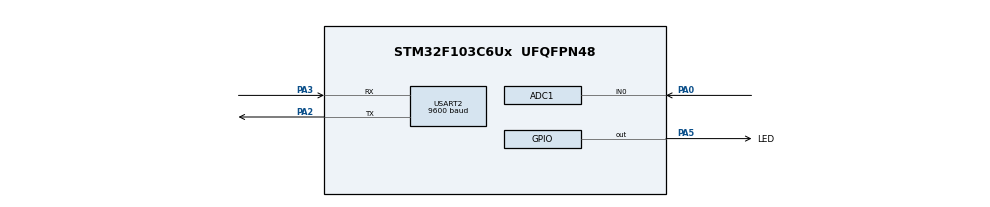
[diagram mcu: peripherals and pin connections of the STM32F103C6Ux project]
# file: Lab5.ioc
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ADC1.Channel-0\#ChannelRegularConversion=ADC_CHANNEL_0
ADC1.ContinuousConvMode=ENABLE
ADC1.NbrOfConversionFlag=1
ADC1.Rank-0\#ChannelRegularConversion=1
ADC1.SamplingTime-0\#ChannelRegularConversion=ADC_SAMPLETIME_1CYCLE_5
ADC1.master=1
Mcu.Family=STM32F1
Mcu.Name=STM32F103C6Ux
Mcu.Package=UFQFPN48
NVIC.PriorityGroup=NVIC_PRIORITYGROUP_4
NVIC.TIM2_IRQn=true\:0\:0\:false\:false\:true\:true\:true\:true
NVIC.USART2_IRQn=true\:0\:0\:false\:false\:true\:true\:true\:true
PA0-WKUP.Signal=ADCx_IN0
PA2.Mode=Asynchronous
PA2.Signal=USART2_TX
PA3.Mode=Asynchronous
PA3.Signal=USART2_RX
PA5.GPIO_Label=LED
PA5.Signal=GPIO_Output
ProjectManager.HeapSize=0x200
ProjectManager.StackSize=0x400
ProjectManager.TargetToolchain=STM32CubeIDE
RCC.APB1Freq_Value=8000000
RCC.APB2Freq_Value=8000000
SH.ADCx_IN0.0=ADC1_IN0,IN0
TIM2.Period=9
TIM2.Prescaler=7999
USART2.BaudRate=9600
USART2.VirtualMode=VM_ASYNC
VP_SYS_VS_ND.Mode=No_Debug
VP_TIM2_VS_ClockSourceINT.Mode=Internal
board=custom

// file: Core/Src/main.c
/* USER CODE BEGIN Header */
/**
  ******************************************************************************
  * @file           : main.c
  * @brief          : Main program body
  ******************************************************************************
  * @attention
  *
  * <h2><center>&copy; Copyright (c) 2022 STMicroelectronics.
  * All rights reserved.</center></h2>
  *
  * This software component is licensed by ST under BSD 3-Clause license,
  * the "License"; You may not use this file except in compliance with the
  * License. You may obtain a copy of the License at:
  *                        opensource.org/licenses/BSD-3-Clause
  *
  ******************************************************************************
  */
/* USER CODE END Header */
#include "main.h"

/* USER CODE BEGIN Includes */
#include "fsm.h"
#include "stdio.h"
#include "software_timer.h"
/* USER CODE END Includes */

/* USER CODE BEGIN PD */
#define MAX_BUFFER_SIZE 30
/* USER CODE END PD */

ADC_HandleTypeDef hadc1;

TIM_HandleTypeDef htim2;

/* USER CODE BEGIN PV */
uint8_t temp = 0;
uint8_t buffer [ MAX_BUFFER_SIZE ];
uint8_t index_buffer = 0;
uint8_t buffer_flag = 0;

uint32_t ADC_Value=0;
/* USER CODE END PV */

void SystemClock_Config(void);
static void MX_GPIO_Init(void);
static void MX_ADC1_Init(void);
static void MX_USART2_UART_Init(void);
static void MX_TIM2_Init(void);

/* USER CODE BEGIN 0 */
void HAL_UART_RxCpltCallback ( UART_HandleTypeDef * huart ){
	if(huart -> Instance == USART2 ){
		// HAL_UART_Transmit (& huart2 , &temp , 1, 50) ;
		//write new char to buffer[index_buffer] and increase index_buffer
		buffer [ index_buffer ++] = temp ;
		//check size
		if( index_buffer == 30) index_buffer = 0;
		//flag for new char has read
		buffer_flag = 1;
		//call interrupt again
		HAL_UART_Receive_IT (& huart2 , &temp , 1);
	}
}
/* USER CODE END 0 */

int main(void)
{

  /* MCU Configuration--------------------------------------------------------*/

  /* Reset of all peripherals, Initializes the Flash interface and the Systick. */
  HAL_Init();

  /* Configure the system clock */
  SystemClock_Config();

  /* Initialize all configured peripherals */
  MX_GPIO_Init();
  MX_ADC1_Init();
  MX_USART2_UART_Init();
  MX_TIM2_Init();
  /* USER CODE BEGIN 2 */
  HAL_UART_Receive_IT(&huart2, &temp, 1);
  HAL_TIM_Base_Start_IT(&htim2);
  char str[50];
  HAL_ADC_Start(&hadc1);
  /* USER CODE END 2 */

  /* Infinite loop */
  /* USER CODE BEGIN WHILE */
  while (1)
  {
//	 ADC_Value=HAL_ADC_GetValue(&hadc1);
//	 HAL_UART_Transmit (& huart2 , ( void *) str , sprintf ( str , "%ld\n", ADC_Value ) , 1000) ;
//	 HAL_Delay (500) ;
	 if( buffer_flag == 1){
		  command_parser_fsm ();
		  buffer_flag = 0;
	 }

	 uart_communication_fsm ();
    /* USER CODE END WHILE */

  }
}

void SystemClock_Config(void)
{
  RCC_OscInitTypeDef RCC_OscInitStruct = {0};
  RCC_ClkInitTypeDef RCC_ClkInitStruct = {0};
  RCC_PeriphCLKInitTypeDef PeriphClkInit = {0};

  /** Initializes the RCC Oscillators according to the specified parameters
  * in the RCC_OscInitTypeDef structure.
  */
  RCC_OscInitStruct.OscillatorType = RCC_OSCILLATORTYPE_HSI;
  RCC_OscInitStruct.HSIState = RCC_HSI_ON;
  RCC_OscInitStruct.HSICalibrationValue = RCC_HSICALIBRATION_DEFAULT;
  RCC_OscInitStruct.PLL.PLLState = RCC_PLL_NONE;
  if (HAL_RCC_OscConfig(&RCC_OscInitStruct) != HAL_OK)
  {
    Error_Handler();
  }
  /** Initializes the CPU, AHB and APB buses clocks
  */
  RCC_ClkInitStruct.ClockType = RCC_CLOCKTYPE_HCLK|RCC_CLOCKTYPE_SYSCLK
                              |RCC_CLOCKTYPE_PCLK1|RCC_CLOCKTYPE_PCLK2;
  RCC_ClkInitStruct.SYSCLKSource = RCC_SYSCLKSOURCE_HSI;
  RCC_ClkInitStruct.AHBCLKDivider = RCC_SYSCLK_DIV1;
  RCC_ClkInitStruct.APB1CLKDivider = RCC_HCLK_DIV1;
  RCC_ClkInitStruct.APB2CLKDivider = RCC_HCLK_DIV1;

  if (HAL_RCC_ClockConfig(&RCC_ClkInitStruct, FLASH_LATENCY_0) != HAL_OK)
  {
    Error_Handler();
  }
  PeriphClkInit.PeriphClockSelection = RCC_PERIPHCLK_ADC;
  PeriphClkInit.AdcClockSelection = RCC_ADCPCLK2_DIV2;
  if (HAL_RCCEx_PeriphCLKConfig(&PeriphClkInit) != HAL_OK)
  {
    Error_Handler();
  }
}

static void MX_ADC1_Init(void)
{

  ADC_ChannelConfTypeDef sConfig = {0};

  /** Common config
  */
  hadc1.Instance = ADC1;
  hadc1.Init.ScanConvMode = ADC_SCAN_DISABLE;
  hadc1.Init.ContinuousConvMode = ENABLE;
  hadc1.Init.DiscontinuousConvMode = DISABLE;
  hadc1.Init.ExternalTrigConv = ADC_SOFTWARE_START;
  hadc1.Init.DataAlign = ADC_DATAALIGN_RIGHT;
  hadc1.Init.NbrOfConversion = 1;
  if (HAL_ADC_Init(&hadc1) != HAL_OK)
  {
    Error_Handler();
  }
  /** Configure Regular Channel
  */
  sConfig.Channel = ADC_CHANNEL_0;
  sConfig.Rank = ADC_REGULAR_RANK_1;
  sConfig.SamplingTime = ADC_SAMPLETIME_1CYCLE_5;
  if (HAL_ADC_ConfigChannel(&hadc1, &sConfig) != HAL_OK)
  {
    Error_Handler();
  }

}

static void MX_TIM2_Init(void)
{

  TIM_ClockConfigTypeDef sClockSourceConfig = {0};
  TIM_MasterConfigTypeDef sMasterConfig = {0};

  htim2.Instance = TIM2;
  htim2.Init.Prescaler = 7999;
  htim2.Init.CounterMode = TIM_COUNTERMODE_UP;
  htim2.Init.Period = 9;
  htim2.Init.ClockDivision = TIM_CLOCKDIVISION_DIV1;
  htim2.Init.AutoReloadPreload = TIM_AUTORELOAD_PRELOAD_DISABLE;
  if (HAL_TIM_Base_Init(&htim2) != HAL_OK)
  {
    Error_Handler();
  }
  sClockSourceConfig.ClockSource = TIM_CLOCKSOURCE_INTERNAL;
  if (HAL_TIM_ConfigClockSource(&htim2, &sClockSourceConfig) != HAL_OK)
  {
    Error_Handler();
  }
  sMasterConfig.MasterOutputTrigger = TIM_TRGO_RESET;
  sMasterConfig.MasterSlaveMode = TIM_MASTERSLAVEMODE_DISABLE;
  if (HAL_TIMEx_MasterConfigSynchronization(&htim2, &sMasterConfig) != HAL_OK)
  {
    Error_Handler();
  }

}

static void MX_USART2_UART_Init(void)
{

  huart2.Instance = USART2;
  huart2.Init.BaudRate = 9600;
  huart2.Init.WordLength = UART_WORDLENGTH_8B;
  huart2.Init.StopBits = UART_STOPBITS_1;
  huart2.Init.Parity = UART_PARITY_NONE;
  huart2.Init.Mode = UART_MODE_TX_RX;
  huart2.Init.HwFlowCtl = UART_HWCONTROL_NONE;
  huart2.Init.OverSampling = UART_OVERSAMPLING_16;
  if (HAL_UART_Init(&huart2) != HAL_OK)
  {
    Error_Handler();
  }

}

static void MX_GPIO_Init(void)
{
  GPIO_InitTypeDef GPIO_InitStruct = {0};

  /* GPIO Ports Clock Enable */
  __HAL_RCC_GPIOA_CLK_ENABLE();

  /*Configure GPIO pin Output Level */
  HAL_GPIO_WritePin(LED_GPIO_Port, LED_Pin, GPIO_PIN_RESET);

  /*Configure GPIO pin : LED_Pin */
  GPIO_InitStruct.Pin = LED_Pin;
  GPIO_InitStruct.Mode = GPIO_MODE_OUTPUT_PP;
  GPIO_InitStruct.Pull = GPIO_NOPULL;
  GPIO_InitStruct.Speed = GPIO_SPEED_FREQ_LOW;
  HAL_GPIO_Init(LED_GPIO_Port, &GPIO_InitStruct);

}

/* USER CODE BEGIN 4 */
void HAL_TIM_PeriodElapsedCallback(TIM_HandleTypeDef *htim) {
	timeRun();

}
/* USER CODE END 4 */

void Error_Handler(void)
{
  __disable_irq();
  while (1)
  {
  }
}

/************************ (C) COPYRIGHT STMicroelectronics *****END OF FILE****/
